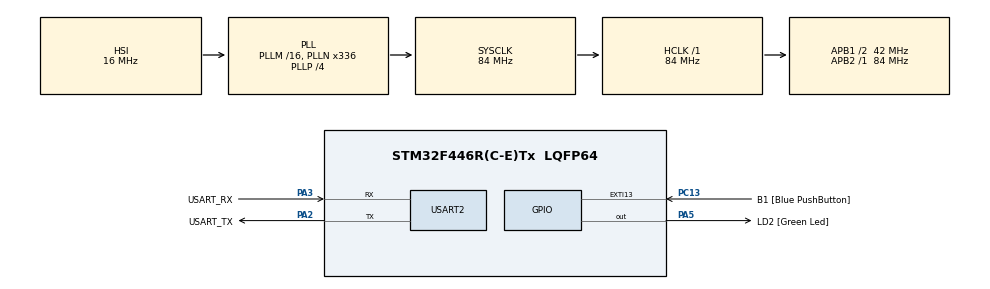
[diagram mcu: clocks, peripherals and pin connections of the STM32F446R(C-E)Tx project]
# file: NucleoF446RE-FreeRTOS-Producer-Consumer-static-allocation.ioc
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FREERTOS.BinarySemaphores01=buttonSemaphore,Static,buttonSemaphoreControlBlock,Depleted;producer_01_semaphore,Static,producer_01_semaphoreControlBlock,Depleted;producer_02_semaphore,Static,producer_02_semaphoreControlBlock,Depleted;producer_03_semaphore,Static,producer_03_semaphoreControlBlock,Depleted;producer_04_semaphore,Static,producer_04_semaphoreControlBlock,Depleted
FREERTOS.Mutexes01=uart_mutex,Static,uart_mutexControlBlock,Available;spi_mutex,Static,spi_mutexControlBlock,Available;i2C_mutex,Static,i2C_mutexControlBlock,Available
FREERTOS.Queues01=producer_01_queue,8,uint32_t,0,Static,producer_01_queueBuffer,producer_01_queueControlBlock;producer_02_queue,8,uint32_t,0,Static,producer_02_queueBuffer,producer_02_queueControlBlock;producer_03_queue,8,uint32_t,0,Static,producer_03_queueBuffer,producer_03_queueControlBlock;producer_04_queue,8,uint32_t,0,Static,producer_04_queueBuffer,producer_04_queueControlBlock
FREERTOS.Tasks01=defaultTask,24,1024,StartDefaultTask,As weak,NULL,Static,defaultTaskBuffer,defaultTaskControlBlock;producer_01,25,128,start_producer_01,As weak,NULL,Static,producer_01Buffer,producer_01ControlBlock;producer_02,25,128,start_producer_02,As weak,NULL,Static,producer_02Buffer,producer_02ControlBlock;producer_03,25,128,start_producer_03,As weak,NULL,Static,producer_03Buffer,producer_03ControlBlock;producer_04,25,128,start_producer_04,As weak,NULL,Static,producer_04Buffer,producer_04ControlBlock;consumer_01,26,128,start_consumer_01,As weak,NULL,Static,consumer_01Buffer,consumer_01ControlBlock;consumer_02,26,128,start_consumer_02,As weak,NULL,Static,consumer_02Buffer,consumer_02ControlBlock;consumer_03,26,128,start_consumer_03,As weak,NULL,Static,consumer_03Buffer,consumer_03ControlBlock;consumer_04,26,128,start_consumer_04,As weak,NULL,Static,consumer_04Buffer,consumer_04ControlBlock
FREERTOS.configCHECK_FOR_STACK_OVERFLOW=0
FREERTOS.configENABLE_FPU=1
FREERTOS.configUSE_NEWLIB_REENTRANT=1
Mcu.Family=STM32F4
Mcu.Name=STM32F446R(C-E)Tx
Mcu.Package=LQFP64
NVIC.EXTI15_10_IRQn=true\:5\:0\:false\:false\:true\:true\:true\:true\:true
NVIC.PriorityGroup=NVIC_PRIORITYGROUP_4
NVIC.TIM6_DAC_IRQn=true\:15\:0\:false\:false\:true\:false\:false\:true\:true
NVIC.TimeBase=TIM6_DAC_IRQn
NVIC.TimeBaseIP=TIM6
PA13.GPIO_Label=TMS
PA13.Mode=Serial_Wire
PA13.Signal=SYS_JTMS-SWDIO
PA14.GPIO_Label=TCK
PA14.Mode=Serial_Wire
PA14.Signal=SYS_JTCK-SWCLK
PA2.GPIO_Label=USART_TX
PA2.Mode=Asynchronous
PA2.Signal=USART2_TX
PA3.GPIO_Label=USART_RX
PA3.Mode=Asynchronous
PA3.Signal=USART2_RX
PA5.GPIO_Label=LD2 [Green Led]
PA5.Signal=GPIO_Output
PB3.GPIO_Label=SWO
PB3.Signal=SYS_JTDO-SWO
PC13.GPIO_Label=B1 [Blue PushButton]
PC13.GPIO_ModeDefaultEXTI=GPIO_MODE_IT_FALLING
PC13.Signal=GPXTI13
PC14-OSC32_IN.Mode=LSE-External-Oscillator
PC14-OSC32_IN.Signal=RCC_OSC32_IN
PC15-OSC32_OUT.Mode=LSE-External-Oscillator
PC15-OSC32_OUT.Signal=RCC_OSC32_OUT
PH0-OSC_IN.Mode=HSE-External-Oscillator
PH0-OSC_IN.Signal=RCC_OSC_IN
PH1-OSC_OUT.Mode=HSE-External-Oscillator
PH1-OSC_OUT.Signal=RCC_OSC_OUT
ProjectManager.HeapSize=0x200
ProjectManager.StackSize=0x400
ProjectManager.TargetToolchain=STM32CubeIDE
RCC.48MHZClocksFreq_Value=84000000
RCC.AHBFreq_Value=84000000
RCC.APB1CLKDivider=RCC_HCLK_DIV2
RCC.APB1Freq_Value=42000000
RCC.APB1TimFreq_Value=84000000
RCC.APB2Freq_Value=84000000
RCC.APB2TimFreq_Value=84000000
RCC.CortexFreq_Value=84000000
RCC.FLatency-AdvancedSettings=FLASH_LATENCY_2
RCC.HCLKFreq_Value=84000000
RCC.HSE_VALUE=8000000
RCC.HSI_VALUE=16000000
RCC.PLLN=336
RCC.PLLP=RCC_PLLP_DIV4
RCC.SYSCLKFreq_VALUE=84000000
RCC.SYSCLKSource=RCC_SYSCLKSOURCE_PLLCLK
RCC.USBFreq_Value=168000000
RCC.VCOOutputFreq_Value=336000000
USART2.VirtualMode=VM_ASYNC
VP_FREERTOS_VS_CMSIS_V2.Mode=CMSIS_V2
VP_SYS_VS_tim6.Mode=TIM6
board=NUCLEO-F446RE

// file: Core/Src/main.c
/* USER CODE BEGIN Header */
/**
  ******************************************************************************
  * @file           : main.c
  * @brief          : Main program body
  ******************************************************************************
  * @attention
  *
  * Copyright (c) 2026 STMicroelectronics.
  * All rights reserved.
  *
  * This software is licensed under terms that can be found in the LICENSE file
  * in the root directory of this software component.
  * If no LICENSE file comes with this software, it is provided AS-IS.
  *
  ******************************************************************************
  */
/* USER CODE END Header */
#include "main.h"
#include "cmsis_os.h"
#include "usart.h"
#include "gpio.h"

/* USER CODE BEGIN Includes */
#include <stdlib.h>
#include <string.h>
#include <stdarg.h> //for va_list var arg function
#include <stdbool.h>
#include <stdint.h>
#include <stdio.h>
#include <time.h>
#include "platformGlue.h"

#ifdef PLATFORM_HAS_UART
void myprintf(const char *fmt, ...);

/* override _write, is used by puts and printf */
int _write(int file, char *ptr, int len)
{
    UART_TERMINAL_SEND((uint8_t*) ptr, (uint16_t)len);
	return len;
}

void myprintf(const char *fmt, ...) {
	static char buffer[256];
	va_list args;
	va_start(args, fmt);
	vsnprintf(buffer, sizeof(buffer), fmt, args);
	va_end(args);

	int len = strlen(buffer);
	UART_TERMINAL_SEND((uint8_t *) buffer, len);
}

#endif
/* USER CODE END Includes */

void SystemClock_Config(void);
void MX_FREERTOS_Init(void);

int main(void)
{

  /* MCU Configuration--------------------------------------------------------*/

  /* Reset of all peripherals, Initializes the Flash interface and the Systick. */
  HAL_Init();

  /* Configure the system clock */
  SystemClock_Config();

  /* Initialize all configured peripherals */
  MX_GPIO_Init();
  MX_USART2_UART_Init();

  /* Init scheduler */
  osKernelInitialize();  /* Call init function for freertos objects (in cmsis_os2.c) */
  MX_FREERTOS_Init();

  /* Start scheduler */
  osKernelStart();

  /* We should never get here as control is now taken by the scheduler */

  /* Infinite loop */
  while (1)
  {

  }
}

void SystemClock_Config(void)
{
  RCC_OscInitTypeDef RCC_OscInitStruct = {0};
  RCC_ClkInitTypeDef RCC_ClkInitStruct = {0};

  /** Configure the main internal regulator output voltage
  */
  __HAL_RCC_PWR_CLK_ENABLE();
  __HAL_PWR_VOLTAGESCALING_CONFIG(PWR_REGULATOR_VOLTAGE_SCALE3);

  /** Initializes the RCC Oscillators according to the specified parameters
  * in the RCC_OscInitTypeDef structure.
  */
  RCC_OscInitStruct.OscillatorType = RCC_OSCILLATORTYPE_HSI;
  RCC_OscInitStruct.HSIState = RCC_HSI_ON;
  RCC_OscInitStruct.HSICalibrationValue = RCC_HSICALIBRATION_DEFAULT;
  RCC_OscInitStruct.PLL.PLLState = RCC_PLL_ON;
  RCC_OscInitStruct.PLL.PLLSource = RCC_PLLSOURCE_HSI;
  RCC_OscInitStruct.PLL.PLLM = 16;
  RCC_OscInitStruct.PLL.PLLN = 336;
  RCC_OscInitStruct.PLL.PLLP = RCC_PLLP_DIV4;
  RCC_OscInitStruct.PLL.PLLQ = 2;
  RCC_OscInitStruct.PLL.PLLR = 2;
  if (HAL_RCC_OscConfig(&RCC_OscInitStruct) != HAL_OK)
  {
    Error_Handler();
  }

  /** Initializes the CPU, AHB and APB buses clocks
  */
  RCC_ClkInitStruct.ClockType = RCC_CLOCKTYPE_HCLK|RCC_CLOCKTYPE_SYSCLK
                              |RCC_CLOCKTYPE_PCLK1|RCC_CLOCKTYPE_PCLK2;
  RCC_ClkInitStruct.SYSCLKSource = RCC_SYSCLKSOURCE_PLLCLK;
  RCC_ClkInitStruct.AHBCLKDivider = RCC_SYSCLK_DIV1;
  RCC_ClkInitStruct.APB1CLKDivider = RCC_HCLK_DIV2;
  RCC_ClkInitStruct.APB2CLKDivider = RCC_HCLK_DIV1;

  if (HAL_RCC_ClockConfig(&RCC_ClkInitStruct, FLASH_LATENCY_2) != HAL_OK)
  {
    Error_Handler();
  }
}

void HAL_TIM_PeriodElapsedCallback(TIM_HandleTypeDef *htim)
{
  if (htim->Instance == TIM6)
  {
    HAL_IncTick();
  }
}

void Error_Handler(void)
{
  __disable_irq();
  while (1)
  {
  }
}

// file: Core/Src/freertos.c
/* USER CODE BEGIN Header */
/**
  ******************************************************************************
  * File Name          : freertos.c
  * Description        : Code for freertos applications
  ******************************************************************************
  * @attention
  *
  * Copyright (c) 2026 STMicroelectronics.
  * All rights reserved.
  *
  * This software is licensed under terms that can be found in the LICENSE file
  * in the root directory of this software component.
  * If no LICENSE file comes with this software, it is provided AS-IS.
  *
  ******************************************************************************
  */
/* USER CODE END Header */

#include "FreeRTOS.h"
#include "task.h"
#include "main.h"
#include "cmsis_os.h"

/* USER CODE BEGIN Includes */
#include <stdio.h>
/* USER CODE END Includes */

typedef StaticTask_t osStaticThreadDef_t;
typedef StaticQueue_t osStaticMessageQDef_t;
typedef StaticSemaphore_t osStaticMutexDef_t;
typedef StaticSemaphore_t osStaticSemaphoreDef_t;

/* Definitions for defaultTask */
osThreadId_t defaultTaskHandle;
uint32_t defaultTaskBuffer[ 1024 ];
osStaticThreadDef_t defaultTaskControlBlock;
const osThreadAttr_t defaultTask_attributes = {
  .name = "defaultTask",
  .cb_mem = &defaultTaskControlBlock,
  .cb_size = sizeof(defaultTaskControlBlock),
  .stack_mem = &defaultTaskBuffer[0],
  .stack_size = sizeof(defaultTaskBuffer),
  .priority = (osPriority_t) osPriorityNormal,
};
/* Definitions for producer_01 */
osThreadId_t producer_01Handle;
uint32_t producer_01Buffer[ 512 ];
osStaticThreadDef_t producer_01ControlBlock;
const osThreadAttr_t producer_01_attributes = {
  .name = "producer_01",
  .cb_mem = &producer_01ControlBlock,
  .cb_size = sizeof(producer_01ControlBlock),
  .stack_mem = &producer_01Buffer[0],
  .stack_size = sizeof(producer_01Buffer),
  .priority = (osPriority_t) osPriorityNormal1,
};
/* Definitions for producer_02 */
osThreadId_t producer_02Handle;
uint32_t producer_02Buffer[ 512 ];
osStaticThreadDef_t producer_02ControlBlock;
const osThreadAttr_t producer_02_attributes = {
  .name = "producer_02",
  .cb_mem = &producer_02ControlBlock,
  .cb_size = sizeof(producer_02ControlBlock),
  .stack_mem = &producer_02Buffer[0],
  .stack_size = sizeof(producer_02Buffer),
  .priority = (osPriority_t) osPriorityNormal1,
};
/* Definitions for producer_03 */
osThreadId_t producer_03Handle;
uint32_t producer_03Buffer[ 512 ];
osStaticThreadDef_t producer_03ControlBlock;
const osThreadAttr_t producer_03_attributes = {
  .name = "producer_03",
  .cb_mem = &producer_03ControlBlock,
  .cb_size = sizeof(producer_03ControlBlock),
  .stack_mem = &producer_03Buffer[0],
  .stack_size = sizeof(producer_03Buffer),
  .priority = (osPriority_t) osPriorityNormal1,
};
/* Definitions for producer_04 */
osThreadId_t producer_04Handle;
uint32_t producer_04Buffer[ 512 ];
osStaticThreadDef_t producer_04ControlBlock;
const osThreadAttr_t producer_04_attributes = {
  .name = "producer_04",
  .cb_mem = &producer_04ControlBlock,
  .cb_size = sizeof(producer_04ControlBlock),
  .stack_mem = &producer_04Buffer[0],
  .stack_size = sizeof(producer_04Buffer),
  .priority = (osPriority_t) osPriorityNormal1,
};
/* Definitions for consumer_01 */
osThreadId_t consumer_01Handle;
uint32_t consumer_01Buffer[ 512 ];
osStaticThreadDef_t consumer_01ControlBlock;
const osThreadAttr_t consumer_01_attributes = {
  .name = "consumer_01",
  .cb_mem = &consumer_01ControlBlock,
  .cb_size = sizeof(consumer_01ControlBlock),
  .stack_mem = &consumer_01Buffer[0],
  .stack_size = sizeof(consumer_01Buffer),
  .priority = (osPriority_t) osPriorityNormal2,
};
/* Definitions for consumer_02 */
osThreadId_t consumer_02Handle;
uint32_t consumer_02Buffer[ 512 ];
osStaticThreadDef_t consumer_02ControlBlock;
const osThreadAttr_t consumer_02_attributes = {
  .name = "consumer_02",
  .cb_mem = &consumer_02ControlBlock,
  .cb_size = sizeof(consumer_02ControlBlock),
  .stack_mem = &consumer_02Buffer[0],
  .stack_size = sizeof(consumer_02Buffer),
  .priority = (osPriority_t) osPriorityNormal2,
};
/* Definitions for consumer_03 */
osThreadId_t consumer_03Handle;
uint32_t consumer_03Buffer[ 512 ];
osStaticThreadDef_t consumer_03ControlBlock;
const osThreadAttr_t consumer_03_attributes = {
  .name = "consumer_03",
  .cb_mem = &consumer_03ControlBlock,
  .cb_size = sizeof(consumer_03ControlBlock),
  .stack_mem = &consumer_03Buffer[0],
  .stack_size = sizeof(consumer_03Buffer),
  .priority = (osPriority_t) osPriorityNormal2,
};
/* Definitions for consumer_04 */
osThreadId_t consumer_04Handle;
uint32_t consumer_04Buffer[ 512 ];
osStaticThreadDef_t consumer_04ControlBlock;
const osThreadAttr_t consumer_04_attributes = {
  .name = "consumer_04",
  .cb_mem = &consumer_04ControlBlock,
  .cb_size = sizeof(consumer_04ControlBlock),
  .stack_mem = &consumer_04Buffer[0],
  .stack_size = sizeof(consumer_04Buffer),
  .priority = (osPriority_t) osPriorityNormal2,
};
/* Definitions for producer_01_queue */
osMessageQueueId_t producer_01_queueHandle;
uint8_t producer_01_queueBuffer[ 8 * sizeof( uint32_t ) ];
osStaticMessageQDef_t producer_01_queueControlBlock;
const osMessageQueueAttr_t producer_01_queue_attributes = {
  .name = "producer_01_queue",
  .cb_mem = &producer_01_queueControlBlock,
  .cb_size = sizeof(producer_01_queueControlBlock),
  .mq_mem = &producer_01_queueBuffer,
  .mq_size = sizeof(producer_01_queueBuffer)
};
/* Definitions for producer_02_queue */
osMessageQueueId_t producer_02_queueHandle;
uint8_t producer_02_queueBuffer[ 8 * sizeof( uint32_t ) ];
osStaticMessageQDef_t producer_02_queueControlBlock;
const osMessageQueueAttr_t producer_02_queue_attributes = {
  .name = "producer_02_queue",
  .cb_mem = &producer_02_queueControlBlock,
  .cb_size = sizeof(producer_02_queueControlBlock),
  .mq_mem = &producer_02_queueBuffer,
  .mq_size = sizeof(producer_02_queueBuffer)
};
/* Definitions for producer_03_queue */
osMessageQueueId_t producer_03_queueHandle;
uint8_t producer_03_queueBuffer[ 8 * sizeof( uint32_t ) ];
osStaticMessageQDef_t producer_03_queueControlBlock;
const osMessageQueueAttr_t producer_03_queue_attributes = {
  .name = "producer_03_queue",
  .cb_mem = &producer_03_queueControlBlock,
  .cb_size = sizeof(producer_03_queueControlBlock),
  .mq_mem = &producer_03_queueBuffer,
  .mq_size = sizeof(producer_03_queueBuffer)
};
/* Definitions for producer_04_queue */
osMessageQueueId_t producer_04_queueHandle;
uint8_t producer_04_queueBuffer[ 8 * sizeof( uint32_t ) ];
osStaticMessageQDef_t producer_04_queueControlBlock;
const osMessageQueueAttr_t producer_04_queue_attributes = {
  .name = "producer_04_queue",
  .cb_mem = &producer_04_queueControlBlock,
  .cb_size = sizeof(producer_04_queueControlBlock),
  .mq_mem = &producer_04_queueBuffer,
  .mq_size = sizeof(producer_04_queueBuffer)
};
/* Definitions for uart_mutex */
osMutexId_t uart_mutexHandle;
osStaticMutexDef_t uart_mutexControlBlock;
const osMutexAttr_t uart_mutex_attributes = {
  .name = "uart_mutex",
  .cb_mem = &uart_mutexControlBlock,
  .cb_size = sizeof(uart_mutexControlBlock),
};
/* Definitions for spi_mutex */
osMutexId_t spi_mutexHandle;
osStaticMutexDef_t spi_mutexControlBlock;
const osMutexAttr_t spi_mutex_attributes = {
  .name = "spi_mutex",
  .cb_mem = &spi_mutexControlBlock,
  .cb_size = sizeof(spi_mutexControlBlock),
};
/* Definitions for i2C_mutex */
osMutexId_t i2C_mutexHandle;
osStaticMutexDef_t i2C_mutexControlBlock;
const osMutexAttr_t i2C_mutex_attributes = {
  .name = "i2C_mutex",
  .cb_mem = &i2C_mutexControlBlock,
  .cb_size = sizeof(i2C_mutexControlBlock),
};
/* Definitions for buttonSemaphore */
osSemaphoreId_t buttonSemaphoreHandle;
osStaticSemaphoreDef_t buttonSemaphoreControlBlock;
const osSemaphoreAttr_t buttonSemaphore_attributes = {
  .name = "buttonSemaphore",
  .cb_mem = &buttonSemaphoreControlBlock,
  .cb_size = sizeof(buttonSemaphoreControlBlock),
};
/* Definitions for producer_01_semaphore */
osSemaphoreId_t producer_01_semaphoreHandle;
osStaticSemaphoreDef_t producer_01_semaphoreControlBlock;
const osSemaphoreAttr_t producer_01_semaphore_attributes = {
  .name = "producer_01_semaphore",
  .cb_mem = &producer_01_semaphoreControlBlock,
  .cb_size = sizeof(producer_01_semaphoreControlBlock),
};
/* Definitions for producer_02_semaphore */
osSemaphoreId_t producer_02_semaphoreHandle;
osStaticSemaphoreDef_t producer_02_semaphoreControlBlock;
const osSemaphoreAttr_t producer_02_semaphore_attributes = {
  .name = "producer_02_semaphore",
  .cb_mem = &producer_02_semaphoreControlBlock,
  .cb_size = sizeof(producer_02_semaphoreControlBlock),
};
/* Definitions for producer_03_semaphore */
osSemaphoreId_t producer_03_semaphoreHandle;
osStaticSemaphoreDef_t producer_03_semaphoreControlBlock;
const osSemaphoreAttr_t producer_03_semaphore_attributes = {
  .name = "producer_03_semaphore",
  .cb_mem = &producer_03_semaphoreControlBlock,
  .cb_size = sizeof(producer_03_semaphoreControlBlock),
};
/* Definitions for producer_04_semaphore */
osSemaphoreId_t producer_04_semaphoreHandle;
osStaticSemaphoreDef_t producer_04_semaphoreControlBlock;
const osSemaphoreAttr_t producer_04_semaphore_attributes = {
  .name = "producer_04_semaphore",
  .cb_mem = &producer_04_semaphoreControlBlock,
  .cb_size = sizeof(producer_04_semaphoreControlBlock),
};

void StartDefaultTask(void *argument);
void start_producer_01(void *argument);
void start_producer_02(void *argument);
void start_producer_03(void *argument);
void start_producer_04(void *argument);
void start_consumer_01(void *argument);
void start_consumer_02(void *argument);
void start_consumer_03(void *argument);
void start_consumer_04(void *argument);

void MX_FREERTOS_Init(void); /* (MISRA C 2004 rule 8.1) */

void MX_FREERTOS_Init(void) {
  /* Create the mutex(es) */
  /* creation of uart_mutex */
  uart_mutexHandle = osMutexNew(&uart_mutex_attributes);

  /* creation of spi_mutex */
  spi_mutexHandle = osMutexNew(&spi_mutex_attributes);

  /* creation of i2C_mutex */
  i2C_mutexHandle = osMutexNew(&i2C_mutex_attributes);

  /* Create the semaphores(s) */
  /* creation of buttonSemaphore */
  buttonSemaphoreHandle = osSemaphoreNew(1, 0, &buttonSemaphore_attributes);

  /* creation of producer_01_semaphore */
  producer_01_semaphoreHandle = osSemaphoreNew(1, 0, &producer_01_semaphore_attributes);

  /* creation of producer_02_semaphore */
  producer_02_semaphoreHandle = osSemaphoreNew(1, 0, &producer_02_semaphore_attributes);

  /* creation of producer_03_semaphore */
  producer_03_semaphoreHandle = osSemaphoreNew(1, 0, &producer_03_semaphore_attributes);

  /* creation of producer_04_semaphore */
  producer_04_semaphoreHandle = osSemaphoreNew(1, 0, &producer_04_semaphore_attributes);

  /* Create the queue(s) */
  /* creation of producer_01_queue */
  producer_01_queueHandle = osMessageQueueNew (8, sizeof(uint32_t), &producer_01_queue_attributes);

  /* creation of producer_02_queue */
  producer_02_queueHandle = osMessageQueueNew (8, sizeof(uint32_t), &producer_02_queue_attributes);

  /* creation of producer_03_queue */
  producer_03_queueHandle = osMessageQueueNew (8, sizeof(uint32_t), &producer_03_queue_attributes);

  /* creation of producer_04_queue */
  producer_04_queueHandle = osMessageQueueNew (8, sizeof(uint32_t), &producer_04_queue_attributes);

  /* Create the thread(s) */
  /* creation of defaultTask */
  defaultTaskHandle = osThreadNew(StartDefaultTask, NULL, &defaultTask_attributes);

  /* creation of producer_01 */
  producer_01Handle = osThreadNew(start_producer_01, NULL, &producer_01_attributes);

  /* creation of producer_02 */
  producer_02Handle = osThreadNew(start_producer_02, NULL, &producer_02_attributes);

  /* creation of producer_03 */
  producer_03Handle = osThreadNew(start_producer_03, NULL, &producer_03_attributes);

  /* creation of producer_04 */
  producer_04Handle = osThreadNew(start_producer_04, NULL, &producer_04_attributes);

  /* creation of consumer_01 */
  consumer_01Handle = osThreadNew(start_consumer_01, NULL, &consumer_01_attributes);

  /* creation of consumer_02 */
  consumer_02Handle = osThreadNew(start_consumer_02, NULL, &consumer_02_attributes);

  /* creation of consumer_03 */
  consumer_03Handle = osThreadNew(start_consumer_03, NULL, &consumer_03_attributes);

  /* creation of consumer_04 */
  consumer_04Handle = osThreadNew(start_consumer_04, NULL, &consumer_04_attributes);

  /* USER CODE BEGIN RTOS_EVENTS */
  /* add events, ... */
  printf("Starting FreeRTOS Demo 3\r\n");
  printf("FreeRTOS version: %s\r\n", tskKERNEL_VERSION_NUMBER);
  /* USER CODE END RTOS_EVENTS */

}

__weak void StartDefaultTask(void *argument)
{
  for(;;)
  {
    osDelay(1);
  }
}

__weak void start_producer_01(void *argument)
{
  for(;;)
  {
    osDelay(1);
  }
}

__weak void start_producer_02(void *argument)
{
  for(;;)
  {
    osDelay(1);
  }
}

__weak void start_producer_03(void *argument)
{
  for(;;)
  {
    osDelay(1);
  }
}

__weak void start_producer_04(void *argument)
{
  for(;;)
  {
    osDelay(1);
  }
}

__weak void start_consumer_01(void *argument)
{
  for(;;)
  {
    osDelay(1);
  }
}

__weak void start_consumer_02(void *argument)
{
  for(;;)
  {
    osDelay(1);
  }
}

__weak void start_consumer_03(void *argument)
{
  for(;;)
  {
    osDelay(1);
  }
}

__weak void start_consumer_04(void *argument)
{
  for(;;)
  {
    osDelay(1);
  }
}
